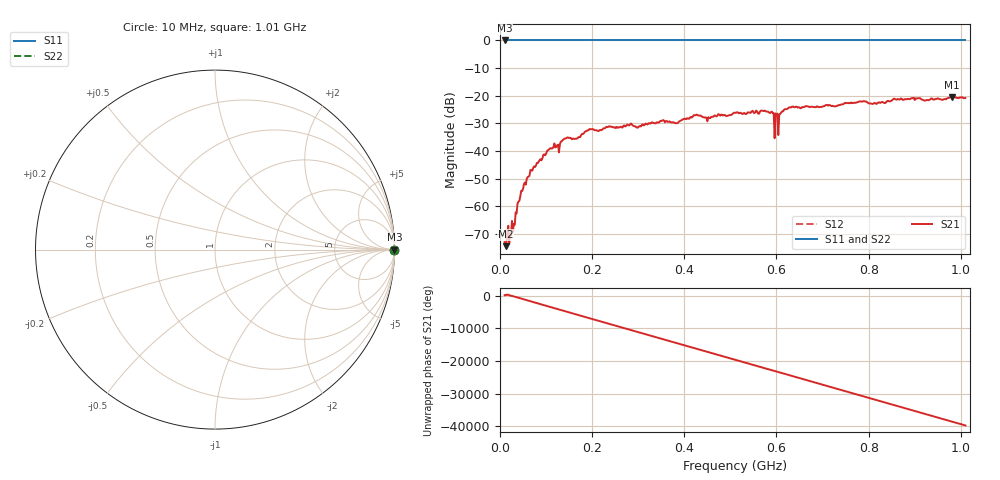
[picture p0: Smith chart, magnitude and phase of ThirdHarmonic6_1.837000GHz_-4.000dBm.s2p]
! 8/16/2025 10:14:23 PM
! C:\ANRITSUVNA\TEMP\TEMP.S2P
! CHANNEL.1
! TR.MEASUREMENT
! RAW.DATA
! RF.CORRECTION.OFF
! AVERAGING.OFF
! IF.BANDWIDTH: 5KHZ
! SWEEPTYPE:  FREQ.SWEEP(Linear)
! Reference Plane Port Info
! PORT:  PORT1  PORT2
! DISTANCE:  0  m  0  m
! TIME:  0  s  0  s
! PHASE.OFFSET:  0  deg.  0  deg.
! LOSS:  0  dB  0  dB
! REF.LOSS:  0  dB  0  dB
! REF.FREQ:  0  Hz  0  Hz
! Power Info
! POWER:  -20  dBm  -20  dBm
! EFF.POWER:  -20  dBm  -20  dBm
! SOURCE.ATTEN:  0  dB  0  dB
! TEST.ATTEN:  0  dB  0  dB
# GHZ S RI R 50.0
! FREQ.GHZ  S11RE  S11IM  S21RE  S21IM  S12RE  S12IM  S22RE  S22IM
!; PortSelection: Port_12
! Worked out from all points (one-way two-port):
!   501 points, 10 MHz to 1.01 GHz, reference 50 ohm
!   highest |S21| = -20.40 dB at 980 MHz (marker M1); lowest = -74.3 dB at 12 MHz (marker M2)
!   lowest |S11| = 0.0 dB at 10 MHz (marker M3)
!   |S11| at or under -10 dB: nowhere
!   |S22| runs from 0.0 to 0.0 dB; largest |S21 - S12| = 1.1
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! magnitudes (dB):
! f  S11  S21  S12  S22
! 10 MHz  0.0  -72.9  0.0  0.0
! 12 MHz  0.0  -74.3  0.0  0.0
! 24 MHz  0.0  -70.4  0.0  0.0
! 48 MHz  0.0  -54.4  0.0  0.0
! 70 MHz  0.0  -47.1  0.0  0.0
! 106 MHz  0.0  -39.4  0.0  0.0
! 124 MHz  0.0  -37.9  0.0  0.0
! 142 MHz  0.0  -35.5  0.0  0.0
! 178 MHz  0.0  -33.8  0.0  0.0
! 198 MHz  0.0  -32.1  0.0  0.0
! 344 MHz  0.0  -29.7  0.0  0.0
! 382 MHz  0.0  -29.9  0.0  0.0
! 510 MHz  0.0  -26.1  0.0  0.0
! 578 MHz  0.0  -25.7  0.0  0.0
! 590 MHz  0.0  -25.7  0.0  0.0
! 600 MHz  0.0  -26.6  0.0  0.0
! 610 MHz  0.0  -26.1  0.0  0.0
! 622 MHz  0.0  -24.8  0.0  0.0
! 678 MHz  0.0  -24.0  0.0  0.0
! 844 MHz  0.0  -21.9  0.0  0.0
! 980 MHz  0.0  -20.4  0.0  0.0
! 1.01 GHz  0.0  -20.8  0.0  0.0
